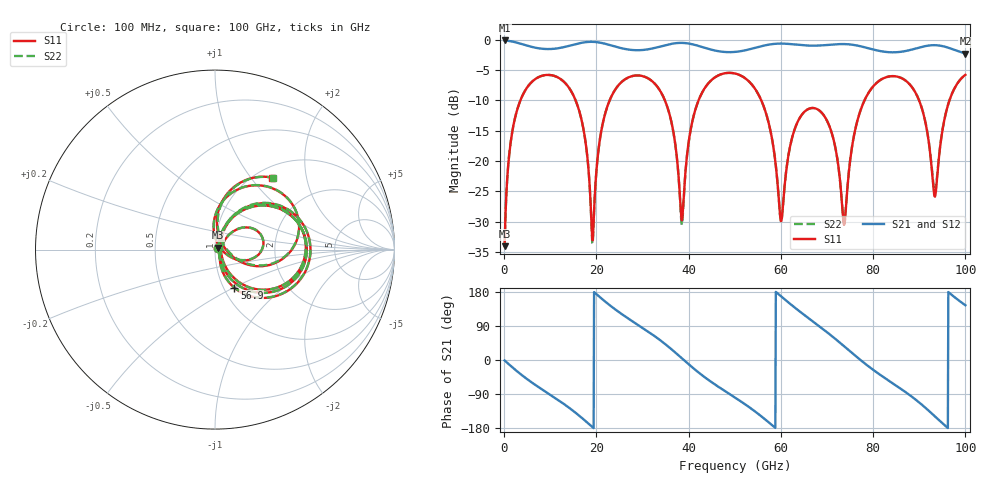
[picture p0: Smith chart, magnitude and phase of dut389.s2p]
! Touchstone file exported from HFSS 2026.1.0
!  File:  C:/ffzhzh/LocalFiles/Ansys_Project_Files/temp_train_TSV_RDL_389_1783717755_44652.aedt
!  Generated:  05:17:37 AM Jul 11, 2026
!  Design:  TSV_RDL
!  Project:  temp_train_TSV_RDL_389_1783717755_44652
! Variables:
!  h_bsmrdl = 2.65um
!  h_ox = 20um
!  h_rdl = 5um
!  h_sub = 69.59um
!  h_tmrdl = 4.29um
!  h_tsv = 69.59um
!  h_via = 3um
!  l_bsmrdl = 582.44um
!  l_sub = 3148.63um
!  l_tmrdl = 220.38um
!  m_sub = 200um
!  pitch = 44.74um
!  r_tsv = 7.05um
!  s_tmrdl = 10um
!  w_bsmrdl = 21.63um
!  w_sub = 500um
!  w_tmrdl = 18.3um
!  x_tsv_center1 = 229.53um
!  x_tsv_center2 = 833.6um
!  x_tsv_center3 = 1072.28um
!  x_tsv_center4 = 1676.35um
!  x_tsv_center5 = 1915.03um
!  x_tsv_center6 = 2519.1um
# GHz S MA R 50.000000
! Terminal data exported
! Port[1] = TM_RDL1_1_T1
! Port[2] = TM_RDL5_1_T1
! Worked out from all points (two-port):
!   1000 points, 100 MHz to 100 GHz, reference 50 ohm
!   highest |S21| = -0.14 dB at 100 MHz (marker M1); lowest = -2.3 dB at 100 GHz (marker M2)
!   |S21| within 3 dB of the highest: start of sweep to end of sweep
!   lowest |S11| = -34.0 dB at 100 MHz (marker M3), VSWR 1.04, Z = 51.7 + j1.11 ohm
!   |S11| at or under -10 dB: 15.48 GHz to 22.88 GHz (7.394 GHz wide, 38.6 % of centre); 34.84 GHz to 42.16 GHz (7.315 GHz wide, 19 % of centre); 55.74 GHz to 78.14 GHz (22.4 GHz wide, 33.5 % of centre) (the widest 3 of 5)
!   |S22| runs from -34.0 to -5.5 dB; largest |S21 - S12| = 4.9e-12
!   S11 on the Smith chart (normalised r, x): 100 MHz: 1.03, +0.02; 56.9 GHz: 1.12, -0.51; 100 GHz: 1.18, +1.28
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0.1  0.01988 32.8  0.9834 -1.2  0.9834 -1.2  0.01988 32.8
! Gamma 0 0 0 0
! Port Impedance 50 0 50 0
1.8  0.1778 63.6  0.9626 -19.5  0.9626 -19.5  0.1778 63.6
5.1  0.4091 35.3  0.8889 -51.5  0.8889 -51.5  0.4091 35.3
16.8  0.2164 -58.8  0.9408 -152.3  0.9408 -152.3  0.2164 -59.2
19.2  0.02221 11.7  0.958 -177.6  0.958 -177.6  0.02082 12.0
23.4  0.3493 45.7  0.8907 139.7  0.8907 139.7  0.349 45.8
33.4  0.4001 -32.2  0.8673 56.2  0.8673 56.2  0.3999 -32.4
38.5  0.03245 -0.4  0.9392 4.9  0.9392 4.9  0.02973 -0.9
42.2  0.3192 50.7  0.8853 -33.4  0.8853 -33.4  0.3188 51.3
50.1  0.5249 -9.8  0.7919 -99.5  0.7919 -99.5  0.5247 -9.5
56.9  0.2382 -63.1  0.9019 -159.8  0.9019 -159.8  0.238 -62.9
60.1  0.03209 -5.2  0.9269 167.4  0.9269 167.4  0.03191 -4.8
62.7  0.169 42.3  0.9135 141.3  0.9135 141.3  0.169 42.7
66.7  0.2731 12.2  0.8909 103.9  0.8909 103.9  0.273 12.6
71  0.1714 -20.7  0.9092 63.6  0.9092 63.6  0.1712 -20.1
73.7  0.02976 31.7  0.9183 36.4  0.9183 36.4  0.03105 32.8
77.1  0.2503 83.5  0.8837 1.5  0.8837 1.5  0.2508 83.6
83.4  0.4963 34.0  0.7873 -54.7  0.7873 -54.7  0.4968 34.3
89.8  0.3263 -14.6  0.8554 -110.3  0.8554 -110.3  0.3271 -13.7
93.4  0.05079 33.0  0.8993 -148.8  0.8993 -148.8  0.05552 32.7
96.1  0.2781 81.1  0.8614 -178.5  0.8614 -178.5  0.2787 80.3
100  0.5125 51.5  0.7657 144.5  0.7657 144.5  0.5127 51.3
